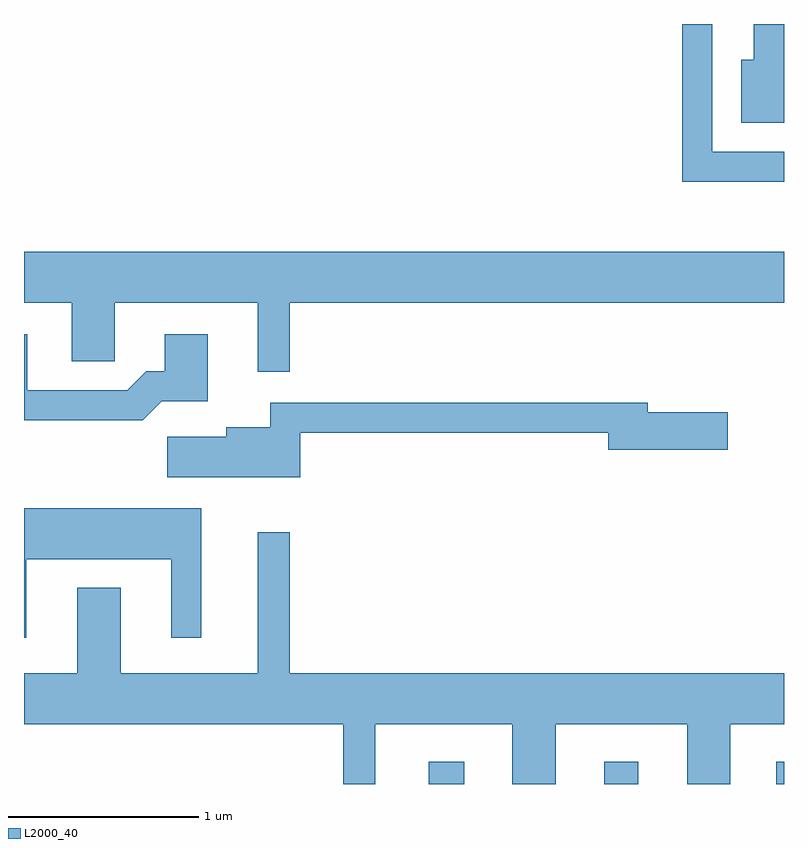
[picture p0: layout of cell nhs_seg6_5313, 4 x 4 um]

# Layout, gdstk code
import gdstk
lib = gdstk.Library(unit=1e-6, precision=1e-09)
def R(c, l, rs):  # rectangles x0, y0, x1, y1
    for r in rs: c.add(gdstk.rectangle(r[:2], r[2:], *l))
def P(c, l, *ps):  # polygons
    for p in ps: c.add(gdstk.Polygon(p, *l))
L2000_40 = (2000, 40)

nhs_seg6_5313 = lib.new_cell('nhs_seg6_5313')
R(nhs_seg6_5313, L2000_40, [(349.741,1554.162,349.929,1554.279), (350.666,1554.162,350.844,1554.279), (351.571,1554.162,351.611,1554.279)])
P(nhs_seg6_5313, L2000_40, [(351.611,1557.489),(351.234,1557.489),(351.234,1558.162),(351.076,1558.162),(351.076,1557.331),(351.611,1557.331)],
  [(351.611,1558.162),(351.451,1558.162),(351.451,1557.974),(351.386,1557.974),(351.386,1557.641),(351.611,1557.641)],
  [(349.009,1556.696),(351.611,1556.696),(351.611,1556.964),(347.611,1556.964),(347.611,1556.696),(347.861,1556.696),(347.861,1556.386),(348.089,1556.386),(348.089,1556.696),(348.841,1556.696),(348.841,1556.333),(349.009,1556.333)],
  [(348.337,1556.176),(348.579,1556.176),(348.579,1556.529),(348.351,1556.529),(348.351,1556.334),(348.254,1556.334),(348.154,1556.234),(347.629,1556.234),(347.629,1556.529),(347.611,1556.529),(347.611,1556.076),(348.237,1556.076)],
  [(349.064,1556.011),(350.686,1556.011),(350.686,1555.921),(351.314,1555.921),(351.314,1556.119),(350.894,1556.119),(350.894,1556.169),(348.906,1556.169),(348.906,1556.039),(348.676,1556.039),(348.676,1555.989),(348.366,1555.989),(348.366,1555.776),(349.064,1555.776)],
  [(347.624,1555.346),(348.386,1555.346),(348.386,1554.933),(348.544,1554.933),(348.544,1555.614),(347.611,1555.614),(347.611,1554.933),(347.624,1554.933)],
  [(349.459,1554.476),(350.181,1554.476),(350.181,1554.162),(350.409,1554.162),(350.409,1554.476),(351.101,1554.476),(351.101,1554.162),(351.329,1554.162),(351.329,1554.476),(351.611,1554.476),(351.611,1554.744),(349.009,1554.744),(349.009,1555.488),(348.841,1555.488),(348.841,1554.744),(348.119,1554.744),(348.119,1555.194),(347.891,1555.194),(347.891,1554.744),(347.611,1554.744),(347.611,1554.476),(349.291,1554.476),(349.291,1554.162),(349.459,1554.162)])

lib.write_gds('nhs_seg6_5313.gds')
